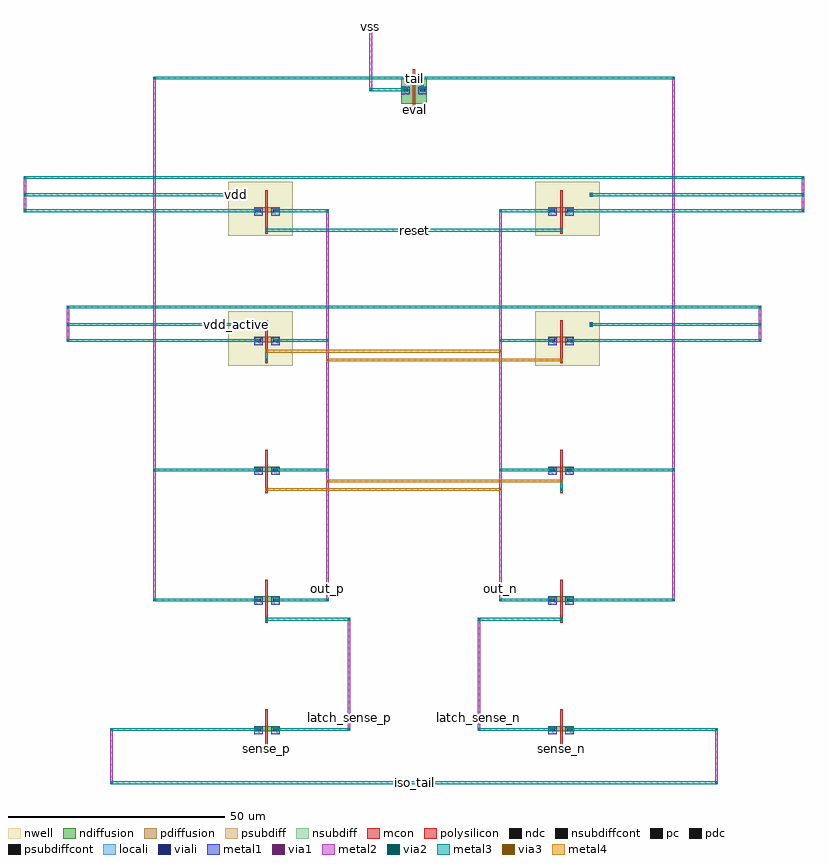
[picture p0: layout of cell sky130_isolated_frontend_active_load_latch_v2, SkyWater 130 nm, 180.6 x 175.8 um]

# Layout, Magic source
magic
tech sky130A
<< ndiffusion >>
rect -3700 690 -3100 810
rect 3100 690 3700 810
rect -3700 3690 -3100 3810
rect 3100 3690 3700 3810
rect -3700 6690 -3100 6810
rect 3100 6690 3700 6810
rect -300 15200 300 15800
<< polysilicon >>
rect -3440 200 -3380 1200
rect 3380 200 3440 1200
rect -3440 3200 -3380 4200
rect 3380 3200 3440 4200
rect -3440 6200 -3380 7200
rect 3380 6200 3440 7200
rect -3440 9200 -3380 10200
rect 3380 9200 3440 10200
rect -3440 12200 -3380 13200
rect 3380 12200 3440 13200
rect -30 15000 30 16000
<< ndc >>
rect -3260 700 -3140 760
rect -3660 700 -3540 760
rect 3140 700 3260 760
rect 3540 700 3660 760
rect -3260 3700 -3140 3760
rect -3660 3700 -3540 3760
rect 3140 3700 3260 3760
rect 3540 3700 3660 3760
rect -3260 6700 -3140 6760
rect -3660 6700 -3540 6760
rect 3140 6700 3260 6760
rect 3540 6700 3660 6760
rect -260 15500 -140 15560
rect 140 15500 260 15560
<< mcon >>
rect -3260 700 -3140 760
rect -3660 700 -3540 760
rect -3440 250 -3380 310
rect 3140 700 3260 760
rect 3540 700 3660 760
rect 3380 250 3440 310
rect -3260 3700 -3140 3760
rect -3660 3700 -3540 3760
rect -3440 3250 -3380 3310
rect 3140 3700 3260 3760
rect 3540 3700 3660 3760
rect 3380 3250 3440 3310
rect -3260 6700 -3140 6760
rect -3660 6700 -3540 6760
rect -3440 6250 -3380 6310
rect 3140 6700 3260 6760
rect 3540 6700 3660 6760
rect 3380 6250 3440 6310
rect -3260 9700 -3140 9760
rect -3660 9700 -3540 9760
rect -3440 9250 -3380 9310
rect 3140 9700 3260 9760
rect 3540 9700 3660 9760
rect 3380 9250 3440 9310
rect -3260 12700 -3140 12760
rect -3660 12700 -3540 12760
rect -3440 12250 -3380 12310
rect 3140 12700 3260 12760
rect 3540 12700 3660 12760
rect 3380 12250 3440 12310
rect -260 15500 -140 15560
rect 140 15500 260 15560
rect -30 15050 30 15110
<< metal1 >>
rect -3300 620 -3100 800
rect -3700 620 -3500 800
rect -3440 250 -3380 310
rect -3630 700 -3570 760
rect -3230 700 -3170 760
rect -3440 250 -3380 310
rect 3100 620 3300 800
rect 3500 620 3700 800
rect 3380 250 3440 310
rect 3570 700 3630 760
rect 3170 700 3230 760
rect 3380 250 3440 310
rect -3300 3620 -3100 3800
rect -3700 3620 -3500 3800
rect -3440 3250 -3380 3310
rect -3630 3700 -3570 3760
rect -3230 3700 -3170 3760
rect -3440 3250 -3380 3310
rect 3100 3620 3300 3800
rect 3500 3620 3700 3800
rect 3380 3250 3440 3310
rect 3570 3700 3630 3760
rect 3170 3700 3230 3760
rect 3380 3250 3440 3310
rect -3300 6620 -3100 6800
rect -3700 6620 -3500 6800
rect -3440 6250 -3380 6310
rect -3630 6700 -3570 6760
rect -3230 6700 -3170 6760
rect -3440 6250 -3380 6310
rect 3100 6620 3300 6800
rect 3500 6620 3700 6800
rect 3380 6250 3440 6310
rect 3570 6700 3630 6760
rect 3170 6700 3230 6760
rect 3380 6250 3440 6310
rect -3300 9620 -3100 9800
rect -3700 9620 -3500 9800
rect -3440 9250 -3380 9310
rect -3630 9700 -3570 9760
rect -3230 9700 -3170 9760
rect -3440 9250 -3380 9310
rect -4130 10050 -4070 10150
rect -4130 10070 -4070 10130
rect 3100 9620 3300 9800
rect 3500 9620 3700 9800
rect 3380 9250 3440 9310
rect 3570 9700 3630 9760
rect 3170 9700 3230 9760
rect 3380 9250 3440 9310
rect 4070 10050 4130 10150
rect 4070 10070 4130 10130
rect -3300 12620 -3100 12800
rect -3700 12620 -3500 12800
rect -3440 12250 -3380 12310
rect -3630 12700 -3570 12760
rect -3230 12700 -3170 12760
rect -3440 12250 -3380 12310
rect -4130 13050 -4070 13150
rect -4130 13070 -4070 13130
rect 3100 12620 3300 12800
rect 3500 12620 3700 12800
rect 3380 12250 3440 12310
rect 3570 12700 3630 12760
rect 3170 12700 3230 12760
rect 3380 12250 3440 12310
rect 4070 13050 4130 13150
rect 4070 13070 4130 13130
rect -300 15420 -100 15600
rect -230 15500 -170 15560
rect 100 15420 300 15600
rect 170 15500 230 15560
rect -1030 16950 -970 17050
rect -1030 16970 -970 17030
rect -30 15050 30 15110
rect -30 15050 30 15110
<< pc >>
rect -3440 250 -3380 310
rect 3380 250 3440 310
rect -3440 3250 -3380 3310
rect 3380 3250 3440 3310
rect -3440 6250 -3380 6310
rect 3380 6250 3440 6310
rect -3440 9250 -3380 9310
rect 3380 9250 3440 9310
rect -3440 12250 -3380 12310
rect 3380 12250 3440 12310
rect -30 15050 30 15110
<< locali >>
rect -3440 250 -3380 310
rect 3380 250 3440 310
rect -3440 3250 -3380 3310
rect 3380 3250 3440 3310
rect -3440 6250 -3380 6310
rect 3380 6250 3440 6310
rect -3440 9250 -3380 9310
rect -4130 10050 -4070 10150
rect 3380 9250 3440 9310
rect 4070 10050 4130 10150
rect -3440 12250 -3380 12310
rect -4130 13050 -4070 13150
rect 3380 12250 3440 12310
rect 4070 13050 4130 13150
rect -1030 16950 -970 17050
rect -30 15050 30 15110
<< via1 >>
rect -3630 700 -3570 760
rect -3230 700 -3170 760
rect -3440 250 -3380 310
rect 3570 700 3630 760
rect 3170 700 3230 760
rect 3380 250 3440 310
rect -3630 3700 -3570 3760
rect -3230 3700 -3170 3760
rect -3440 3250 -3380 3310
rect 3570 3700 3630 3760
rect 3170 3700 3230 3760
rect 3380 3250 3440 3310
rect -3630 6700 -3570 6760
rect -3230 6700 -3170 6760
rect -3440 6250 -3380 6310
rect 3570 6700 3630 6760
rect 3170 6700 3230 6760
rect 3380 6250 3440 6310
rect -3630 9700 -3570 9760
rect -3230 9700 -3170 9760
rect -3440 9250 -3380 9310
rect -4130 10070 -4070 10130
rect 3570 9700 3630 9760
rect 3170 9700 3230 9760
rect 3380 9250 3440 9310
rect 4070 10070 4130 10130
rect -3630 12700 -3570 12760
rect -3230 12700 -3170 12760
rect -3440 12250 -3380 12310
rect -4130 13070 -4070 13130
rect 3570 12700 3630 12760
rect 3170 12700 3230 12760
rect 3380 12250 3440 12310
rect 4070 13070 4130 13130
rect -230 15500 -170 15560
rect 170 15500 230 15560
rect -1030 16970 -970 17030
rect -30 15050 30 15110
<< metal2 >>
rect -3630 700 -3570 760
rect -7030 700 -6970 760
rect -3230 700 -3170 760
rect -1530 700 -1470 760
rect -3440 250 -3380 310
rect 3570 700 3630 760
rect 6970 700 7030 760
rect 3170 700 3230 760
rect 1470 700 1530 760
rect 3380 250 3440 310
rect -3630 3700 -3570 3760
rect -6030 3700 -5970 3760
rect -3230 3700 -3170 3760
rect -2030 3700 -1970 3760
rect -3440 3250 -3380 3310
rect -1530 3250 -1470 3310
rect 3570 3700 3630 3760
rect 5970 3700 6030 3760
rect 3170 3700 3230 3760
rect 1970 3700 2030 3760
rect 3380 3250 3440 3310
rect 1470 3250 1530 3310
rect -3630 6700 -3570 6760
rect -6030 6700 -5970 6760
rect -3230 6700 -3170 6760
rect -2030 6700 -1970 6760
rect -3440 6250 -3380 6310
rect 1970 6250 2030 6310
rect 3570 6700 3630 6760
rect 5970 6700 6030 6760
rect 3170 6700 3230 6760
rect 1970 6700 2030 6760
rect 3380 6250 3440 6310
rect -2030 6450 -1970 6510
rect -3630 9700 -3570 9760
rect -8030 9700 -7970 9760
rect -3230 9700 -3170 9760
rect -2030 9700 -1970 9760
rect -3440 9250 -3380 9310
rect 1970 9450 2030 9510
rect -4130 10070 -4070 10130
rect -8030 10070 -7970 10130
rect 3570 9700 3630 9760
rect 7970 9700 8030 9760
rect 3170 9700 3230 9760
rect 1970 9700 2030 9760
rect 3380 9250 3440 9310
rect -2030 9250 -1970 9310
rect 4070 10070 4130 10130
rect 7970 10070 8030 10130
rect -3630 12700 -3570 12760
rect -9030 12700 -8970 12760
rect -3230 12700 -3170 12760
rect -2030 12700 -1970 12760
rect -3440 12250 -3380 12310
rect -4130 13070 -4070 13130
rect -9030 13070 -8970 13130
rect 3570 12700 3630 12760
rect 8970 12700 9030 12760
rect 3170 12700 3230 12760
rect 1970 12700 2030 12760
rect 3380 12250 3440 12310
rect 4070 13070 4130 13130
rect 8970 13070 9030 13130
rect -1530 700 -1470 3310
rect -2030 3700 -1970 12760
rect 1470 700 1530 3310
rect 1970 3700 2030 12760
rect -7030 -530 -6970 760
rect -7030 -530 -6970 -470
rect 6970 -530 7030 760
rect 6970 -530 7030 -470
rect -6030 3700 -5970 15830
rect -6030 15770 -5970 15830
rect 5970 3700 6030 15830
rect 5970 15770 6030 15830
rect -8030 9700 -7970 10530
rect -8030 10470 -7970 10530
rect 7970 9700 8030 10530
rect 7970 10470 8030 10530
rect -9030 12700 -8970 13530
rect -9030 13470 -8970 13530
rect 8970 12700 9030 13530
rect 8970 13470 9030 13530
rect -230 15500 -170 15560
rect 170 15500 230 15560
rect -1030 15500 -970 15560
rect -1030 15500 -970 17030
rect -1030 16970 -970 17030
rect -30 15050 30 15110
<< via2 >>
rect -3630 700 -3570 760
rect -7030 700 -6970 760
rect -3230 700 -3170 760
rect -1530 700 -1470 760
rect 3570 700 3630 760
rect 6970 700 7030 760
rect 3170 700 3230 760
rect 1470 700 1530 760
rect -3630 3700 -3570 3760
rect -6030 3700 -5970 3760
rect -3230 3700 -3170 3760
rect -2030 3700 -1970 3760
rect -3440 3250 -3380 3310
rect -1530 3250 -1470 3310
rect 3570 3700 3630 3760
rect 5970 3700 6030 3760
rect 3170 3700 3230 3760
rect 1970 3700 2030 3760
rect 3380 3250 3440 3310
rect 1470 3250 1530 3310
rect -3630 6700 -3570 6760
rect -6030 6700 -5970 6760
rect -3230 6700 -3170 6760
rect -2030 6700 -1970 6760
rect -3440 6250 -3380 6310
rect 1970 6250 2030 6310
rect 3570 6700 3630 6760
rect 5970 6700 6030 6760
rect 3170 6700 3230 6760
rect 1970 6700 2030 6760
rect 3380 6250 3440 6310
rect -2030 6450 -1970 6510
rect -3630 9700 -3570 9760
rect -8030 9700 -7970 9760
rect -3230 9700 -3170 9760
rect -2030 9700 -1970 9760
rect -3440 9250 -3380 9310
rect 1970 9450 2030 9510
rect -4130 10070 -4070 10130
rect -8030 10070 -7970 10130
rect 3570 9700 3630 9760
rect 7970 9700 8030 9760
rect 3170 9700 3230 9760
rect 1970 9700 2030 9760
rect 3380 9250 3440 9310
rect -2030 9250 -1970 9310
rect 4070 10070 4130 10130
rect 7970 10070 8030 10130
rect -3630 12700 -3570 12760
rect -9030 12700 -8970 12760
rect -3230 12700 -3170 12760
rect -2030 12700 -1970 12760
rect -3440 12250 -3380 12310
rect -4130 13070 -4070 13130
rect -9030 13070 -8970 13130
rect 3570 12700 3630 12760
rect 8970 12700 9030 12760
rect 3170 12700 3230 12760
rect 1970 12700 2030 12760
rect 3380 12250 3440 12310
rect 4070 13070 4130 13130
rect 8970 13070 9030 13130
rect -7030 -530 -6970 -470
rect 6970 -530 7030 -470
rect -6030 15770 -5970 15830
rect 5970 15770 6030 15830
rect -8030 10470 -7970 10530
rect 7970 10470 8030 10530
rect -9030 13470 -8970 13530
rect 8970 13470 9030 13530
rect -230 15500 -170 15560
rect 170 15500 230 15560
rect -1030 15500 -970 15560
rect -1030 16970 -970 17030
<< metal3 >>
rect -3630 700 -3570 760
rect -7030 700 -3570 760
rect -7030 700 -6970 760
rect -3230 700 -3170 760
rect -3230 700 -1470 760
rect -1530 700 -1470 760
rect 3570 700 3630 760
rect 3570 700 7030 760
rect 6970 700 7030 760
rect 3170 700 3230 760
rect 1470 700 3230 760
rect 1470 700 1530 760
rect -3630 3700 -3570 3760
rect -6030 3700 -3570 3760
rect -6030 3700 -5970 3760
rect -3230 3700 -3170 3760
rect -3230 3700 -1970 3760
rect -2030 3700 -1970 3760
rect -3440 3250 -3380 3310
rect -3440 3250 -1470 3310
rect -1530 3250 -1470 3310
rect 3570 3700 3630 3760
rect 3570 3700 6030 3760
rect 5970 3700 6030 3760
rect 3170 3700 3230 3760
rect 1970 3700 3230 3760
rect 1970 3700 2030 3760
rect 3380 3250 3440 3310
rect 1470 3250 3440 3310
rect 1470 3250 1530 3310
rect -3630 6700 -3570 6760
rect -6030 6700 -3570 6760
rect -6030 6700 -5970 6760
rect -3230 6700 -3170 6760
rect -3230 6700 -1970 6760
rect -2030 6700 -1970 6760
rect -3440 6250 -3380 6310
rect -3440 6250 -3380 6310
rect -3440 6250 -3380 6310
rect 1970 6250 2030 6310
rect 3570 6700 3630 6760
rect 3570 6700 6030 6760
rect 5970 6700 6030 6760
rect 3170 6700 3230 6760
rect 1970 6700 3230 6760
rect 1970 6700 2030 6760
rect 3380 6250 3440 6310
rect 3380 6250 3440 6510
rect 3380 6450 3440 6510
rect -2030 6450 -1970 6510
rect -3630 9700 -3570 9760
rect -8030 9700 -3570 9760
rect -8030 9700 -7970 9760
rect -3230 9700 -3170 9760
rect -3230 9700 -1970 9760
rect -2030 9700 -1970 9760
rect -3440 9250 -3380 9310
rect -3440 9250 -3380 9510
rect -3440 9450 -3380 9510
rect 1970 9450 2030 9510
rect -4130 10070 -4070 10130
rect -8030 10070 -4070 10130
rect -8030 10070 -7970 10130
rect 3570 9700 3630 9760
rect 3570 9700 8030 9760
rect 7970 9700 8030 9760
rect 3170 9700 3230 9760
rect 1970 9700 3230 9760
rect 1970 9700 2030 9760
rect 3380 9250 3440 9310
rect 3380 9250 3440 9310
rect 3380 9250 3440 9310
rect -2030 9250 -1970 9310
rect 4070 10070 4130 10130
rect 4070 10070 8030 10130
rect 7970 10070 8030 10130
rect -3630 12700 -3570 12760
rect -9030 12700 -3570 12760
rect -9030 12700 -8970 12760
rect -3230 12700 -3170 12760
rect -3230 12700 -1970 12760
rect -2030 12700 -1970 12760
rect -3440 12250 -3380 12310
rect -3440 12250 30 12310
rect -4130 13070 -4070 13130
rect -9030 13070 -4070 13130
rect -9030 13070 -8970 13130
rect 3570 12700 3630 12760
rect 3570 12700 9030 12760
rect 8970 12700 9030 12760
rect 3170 12700 3230 12760
rect 1970 12700 3230 12760
rect 1970 12700 2030 12760
rect 3380 12250 3440 12310
rect -30 12250 3440 12310
rect 4070 13070 4130 13130
rect 4070 13070 9030 13130
rect 8970 13070 9030 13130
rect -7030 -530 -6970 -470
rect 6970 -530 7030 -470
rect -7030 -530 7030 -470
rect -6030 15770 -5970 15830
rect 5970 15770 6030 15830
rect -6030 15770 6030 15830
rect -8030 10470 -7970 10530
rect 7970 10470 8030 10530
rect -8030 10470 8030 10530
rect -9030 13470 -8970 13530
rect 8970 13470 9030 13530
rect -9030 13470 9030 13530
rect -230 15500 -170 15560
rect 170 15500 230 15560
rect 170 15500 230 15830
rect -1030 15500 -170 15560
rect -1030 15500 -970 15560
rect -1030 16970 -970 17030
<< via3 >>
rect -3440 6250 -3380 6310
rect 1970 6250 2030 6310
rect 3380 6450 3440 6510
rect -2030 6450 -1970 6510
rect -3440 9450 -3380 9510
rect 1970 9450 2030 9510
rect 3380 9250 3440 9310
rect -2030 9250 -1970 9310
<< metal4 >>
rect -3440 6250 -3380 6310
rect -3440 6250 2030 6310
rect 1970 6250 2030 6310
rect 3380 6450 3440 6510
rect -2030 6450 3440 6510
rect -2030 6450 -1970 6510
rect -3440 9450 -3380 9510
rect -3440 9450 2030 9510
rect 1970 9450 2030 9510
rect 3380 9250 3440 9310
rect -2030 9250 3440 9310
rect -2030 9250 -1970 9310
<< nwell >>
rect -4300 9150 -2800 10400
rect 2800 9150 4300 10400
rect -4300 12150 -2800 13400
rect 2800 12150 4300 13400
<< pdiffusion >>
rect -3700 9690 -3100 9810
rect 3100 9690 3700 9810
rect -3700 12690 -3100 12810
rect 3100 12690 3700 12810
<< pdc >>
rect -3260 9700 -3140 9760
rect -3660 9700 -3540 9760
rect 3140 9700 3260 9760
rect 3540 9700 3660 9760
rect -3260 12700 -3140 12760
rect -3660 12700 -3540 12760
rect 3140 12700 3260 12760
rect 3540 12700 3660 12760
<< nsubdiff >>
rect -4130 10050 -4070 10150
rect 4070 10050 4130 10150
rect -4130 13050 -4070 13150
rect 4070 13050 4130 13150
<< nsubdiffcont >>
rect -4130 10050 -4070 10150
rect 4070 10050 4130 10150
rect -4130 13050 -4070 13150
rect 4070 13050 4130 13150
<< viali >>
rect -4130 10050 -4070 10150
rect 4070 10050 4130 10150
rect -4130 13050 -4070 13150
rect 4070 13050 4130 13150
rect -1030 16950 -970 17050
<< psubdiff >>
rect -1030 16950 -970 17050
<< psubdiffcont >>
rect -1030 16950 -970 17050
<< labels >>
rlabel metal2 -2020 3980 -1980 4020 0 out_p
port 1 nsew
rlabel metal2 1980 3980 2020 4020 0 out_n
port 2 nsew
rlabel metal2 -1520 980 -1480 1020 0 latch_sense_p
port 3 nsew
rlabel metal2 1480 980 1520 1020 0 latch_sense_n
port 4 nsew
rlabel metal3 -20 15780 20 15820 0 tail
port 5 nsew
rlabel metal3 -20 12260 20 12300 0 reset
port 6 nsew
rlabel metal2 -4120 13080 -4080 13120 0 vdd
port 7 nsew
rlabel metal2 -1020 16980 -980 17020 0 vss
port 8 nsew
rlabel metal2 -20 15060 20 15100 0 eval
port 9 nsew
rlabel metal2 -3430 260 -3390 300 0 sense_p
port 10 nsew
rlabel metal2 3390 260 3430 300 0 sense_n
port 11 nsew
rlabel metal3 -20 -520 20 -480 0 iso_tail
port 12 nsew
rlabel metal2 -4120 10080 -4080 10120 0 vdd_active
port 13 nsew
<< end >>
